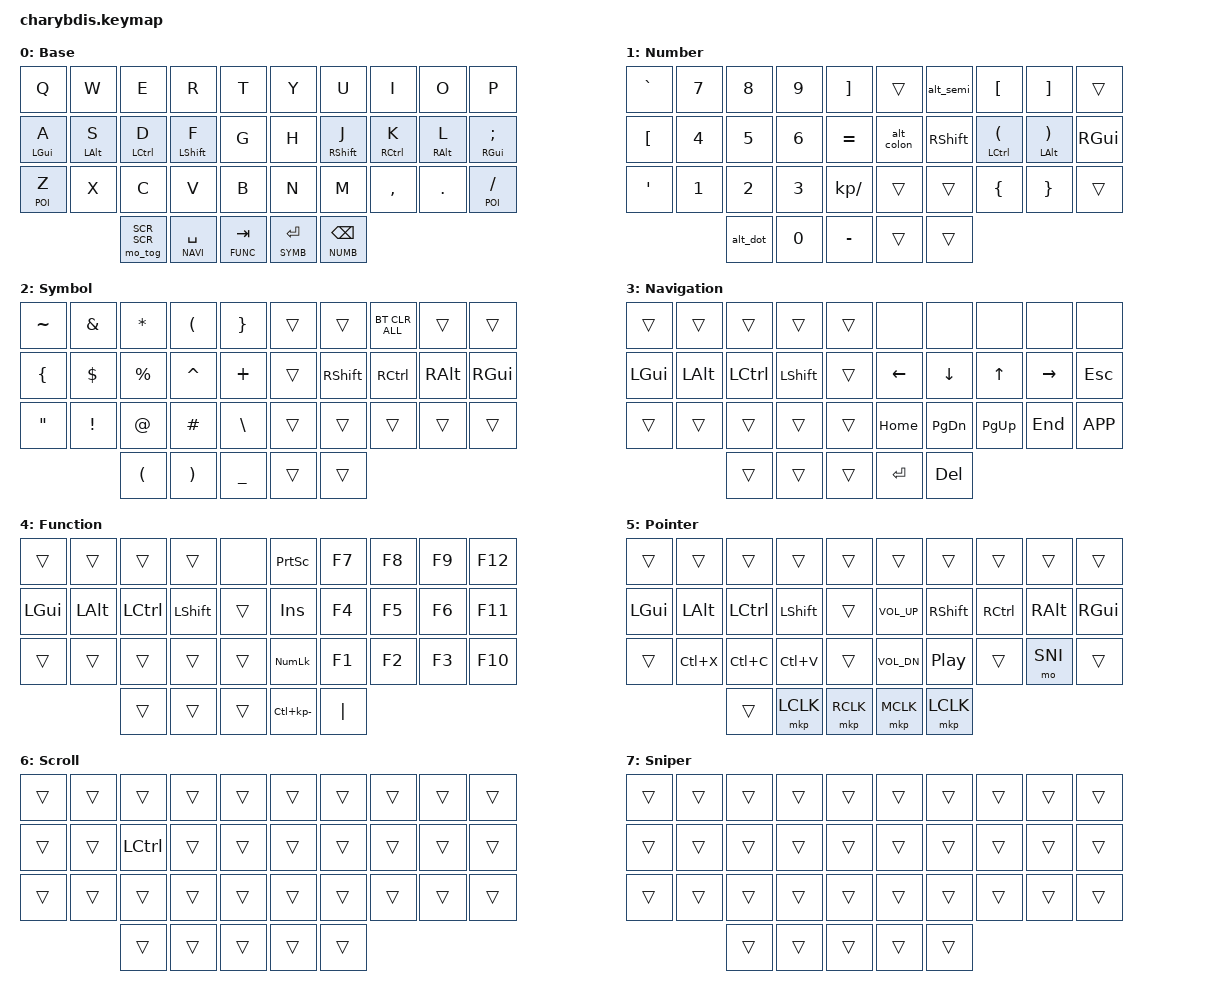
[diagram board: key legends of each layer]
#include <behaviors.dtsi>

#include <dt-bindings/zmk/bt.h>
#include <dt-bindings/zmk/keys.h>
#include <dt-bindings/zmk/mouse.h>

#include <dt-bindings/zmk/pointing.h>

#include <dt-bindings/zmk/ext_power.h>
#include <dt-bindings/zmk/outputs.h>

#include "layers.h"

#include "behaviors.dtsi"
#include "combos.dtsi"

&lt {
    tapping-term-ms = <160>;
};

/ {
    macros {

        ctrl_cmd_hold: ctrl_cmd_hold {
            compatible = "zmk,behavior-macro";
            wait-ms = <0>;
            tap-ms = <10>;
            #binding-cells = <0>;
            bindings
                = <&macro_press &kp LCTRL &kp LGUI &mkp LCLK>
                , <&macro_pause_for_release>
                , <&macro_release &mkp LCLK &kp LCTRL &kp LGUI>
                ;
        };

        alt_dot: alt_dot {
            compatible = "zmk,behavior-macro";
            #binding-cells = <0>;
            wait-ms = <30>;
            tap-ms = <10>;
            bindings
                = <&macro_press &kp LALT>
                , <&macro_tap &kp KP_N0 &kp KP_N0 &kp KP_N4 &kp KP_N6>
                , <&macro_release &kp LALT>
                ;
        };

        alt_bslh: alt_bslh {
            compatible = "zmk,behavior-macro";
            #binding-cells = <0>;
            wait-ms = <30>;
            tap-ms = <10>;
            bindings
                = <&macro_press &kp LALT>
                , <&macro_tap &kp KP_N0 &kp KP_N0 &kp KP_N9 &kp KP_N2>
                , <&macro_release &kp LALT>
                ;
        };

        alt_colon: alt_colon {
            compatible = "zmk,behavior-macro";
            #binding-cells = <0>;
            wait-ms = <30>;
            tap-ms = <10>;
            bindings
                = <&macro_press &kp LALT>
                , <&macro_tap &kp KP_N0 &kp KP_N0 &kp KP_N5 &kp KP_N8>
                , <&macro_release &kp LALT>
                ;
        };

        alt_semi: alt_semi {
            compatible = "zmk,behavior-macro";
            #binding-cells = <0>;
            wait-ms = <30>;
            tap-ms = <10>;
            bindings
                = <&macro_press &kp LALT>
                , <&macro_tap &kp KP_N0 &kp KP_N0 &kp KP_N5 &kp KP_N9>
                , <&macro_release &kp LALT>
                ;
        };
    };

    keymap {
        compatible = "zmk,keymap";

        base_layer {
            label = "BASE";
            display-name = "Base";
            bindings = <
// ╭─────────────┬─────────────┬─────────────┬─────────────┬─────────────╮   ╭─────────────┬─────────────┬─────────────┬─────────────┬─────────────╮
    &kp Q         &kp W         &kp E         &kp R         &kp T             &kp Y         &kp U         &kp I         &kp O         &kp P
// ├─────────────┼─────────────┼─────────────┼─────────────┼─────────────┤   ├─────────────┼─────────────┼─────────────┼─────────────┼─────────────┤
    &hm_l LGUI A  &hm_l LALT S  &hm_l LCTRL D &hm_l LSHFT F &kp G             &kp H         &hm_r RSHFT J &hm_r RCTRL K &hm_r RALT L  &hm_r RGUI SEMI
// ├─────────────┼─────────────┼─────────────┼─────────────┼─────────────┤   ├─────────────┼─────────────┼─────────────┼─────────────┼─────────────┤
    &lt POI Z     &kp X         &kp C         &kp V         &kp B             &kp N         &kp M         &kp COMMA     &kp DOT       &lt POI FSLH
// ╰─────────────┴─────────────┴─────────────┴─────────────┴─────────────╯   ╰─────────────┴─────────────┴─────────────┴─────────────┴─────────────╯
//                              ╭─────────────┬─────────────┬─────────────╮   ╭─────────────┬─────────────╮
                             &mo_tog SCR SCR  &lt NAVI SPACE &lt FUNC TAB     &lt SYMB ENTER &lt NUMB BSPC
//                              ╰─────────────┴─────────────┴─────────────╯   ╰─────────────┴─────────────╯
            >;
        };

        number_layer {
            label = "NUMB";
            display-name = "Number";
            bindings = <
// ╭─────────────┬─────────────┬─────────────┬─────────────┬─────────────╮   ╭─────────────┬─────────────┬─────────────┬─────────────┬─────────────╮
    &kp GRAVE     &kp N7        &kp N8        &kp N9        &kp RBKT          &trans        &alt_semi     &kp LBKT      &kp RBKT      &trans
// ├─────────────┼─────────────┼─────────────┼─────────────┼─────────────┤   ├─────────────┼─────────────┼─────────────┼─────────────┼─────────────┤
    &kp LBKT      &kp N4        &kp N5        &kp N6        &kp EQUAL         &alt_colon    &kp RSHFT    &mt LCTRL LPAR &mt LALT RPAR &kp RGUI
// ├─────────────┼─────────────┼─────────────┼─────────────┼─────────────┤   ├─────────────┼─────────────┼─────────────┼─────────────┼─────────────┤
    &kp APOS      &kp N1        &kp N2        &kp N3        &kp KP_DIVIDE     &trans        &trans        &kp LBRC      &kp RBRC      &trans
// ╰─────────────┴─────────────┴─────────────┴─────────────┴─────────────╯   ╰─────────────┴─────────────┴─────────────┴─────────────┴─────────────╯
//                              ╭─────────────┬─────────────┬─────────────╮   ╭─────────────┬─────────────╮
                                 &alt_dot      &kp N0        &kp MINUS         &trans        &trans
//                              ╰─────────────┴─────────────┴─────────────╯   ╰─────────────┴─────────────╯
            >;
        };

        symbol_layer {
            label = "SYMB";
            display-name = "Symbol";
            bindings = <
// ╭─────────────┬─────────────┬─────────────┬─────────────┬─────────────╮   ╭─────────────┬─────────────┬─────────────┬─────────────┬─────────────╮
    &kp TILDE     &kp AMPS      &kp ASTRK     &kp LPAR      &kp RBRC          &trans        &trans        &bt BT_CLR_ALL &trans       &trans
// ├─────────────┼─────────────┼─────────────┼─────────────┼─────────────┤   ├─────────────┼─────────────┼─────────────┼─────────────┼─────────────┤
    &kp LBRC      &kp DLLR      &kp PRCNT     &kp CARET     &kp PLUS          &trans        &kp RSHFT     &kp RCTRL     &kp RALT      &kp RGUI
// ├─────────────┼─────────────┼─────────────┼─────────────┼─────────────┤   ├─────────────┼─────────────┼─────────────┼─────────────┼─────────────┤
    &kp DQT       &kp EXCL      &kp AT        &kp HASH      &kp BSLH          &trans        &trans        &trans        &trans        &trans
// ╰─────────────┴─────────────┴─────────────┴─────────────┴─────────────╯   ╰─────────────┴─────────────┴─────────────┴─────────────┴─────────────╯
//                              ╭─────────────┬─────────────┬─────────────╮   ╭─────────────┬─────────────╮
                                 &kp LPAR      &kp RPAR      &kp UNDER         &trans        &trans
//                              ╰─────────────┴─────────────┴─────────────╯   ╰─────────────┴─────────────╯
            >;
        };

        navigation_layer {
            label = "NAVI";
            display-name = "Navigation";
            bindings = <
// ╭─────────────┬─────────────┬─────────────┬─────────────┬─────────────╮   ╭─────────────┬─────────────┬─────────────┬─────────────┬─────────────╮
    &trans        &trans        &trans        &trans        &trans            &none         &none         &none         &none         &none
// ├─────────────┼─────────────┼─────────────┼─────────────┼─────────────┤   ├─────────────┼─────────────┼─────────────┼─────────────┼─────────────┤
    &kp LGUI      &kp LALT      &kp LCTRL     &kp LSHFT     &trans            &kp LEFT      &kp DOWN      &kp UP        &kp RIGHT     &kp ESC
// ├─────────────┼─────────────┼─────────────┼─────────────┼─────────────┤   ├─────────────┼─────────────┼─────────────┼─────────────┼─────────────┤
    &trans        &trans        &trans        &trans        &trans            &kp HOME      &kp PG_DN     &kp PG_UP     &kp END       &kp K_APP
// ╰─────────────┴─────────────┴─────────────┴─────────────┴─────────────╯   ╰─────────────┴─────────────┴─────────────┴─────────────┴─────────────╯
//                              ╭─────────────┬─────────────┬─────────────╮   ╭─────────────┬─────────────╮
                                 &trans        &trans        &trans            &kp ENTER     &kp DEL
//                              ╰─────────────┴─────────────┴─────────────╯   ╰─────────────┴─────────────╯
            >;
        };

        function_layer {
            label = "FUNC";
            display-name = "Function";
            bindings = <
// ╭─────────────┬─────────────┬─────────────┬─────────────┬─────────────╮   ╭─────────────┬─────────────┬─────────────┬─────────────┬─────────────╮
    &trans        &trans        &trans        &trans        &none             &kp PSCRN     &kp F7        &kp F8        &kp F9        &kp F12
// ├─────────────┼─────────────┼─────────────┼─────────────┼─────────────┤   ├─────────────┼─────────────┼─────────────┼─────────────┼─────────────┤
    &kp LGUI      &kp LALT      &kp LCTRL     &kp LSHFT     &trans            &kp INS       &kp F4        &kp F5        &kp F6        &kp F11
// ├─────────────┼─────────────┼─────────────┼─────────────┼─────────────┤   ├─────────────┼─────────────┼─────────────┼─────────────┼─────────────┤
    &trans        &trans        &trans        &trans        &trans            &kp KP_NUM    &kp F1        &kp F2        &kp F3        &kp F10
// ╰─────────────┴─────────────┴─────────────┴─────────────┴─────────────╯   ╰─────────────┴─────────────┴─────────────┴─────────────┴─────────────╯
//                              ╭─────────────┬─────────────┬─────────────╮   ╭─────────────┬─────────────╮
                                 &trans        &trans        &trans            &kp LC(KP_MINUS) &kp PIPE
//                              ╰─────────────┴─────────────┴─────────────╯   ╰─────────────┴─────────────╯
            >;
        };

        pointer_layer {
            label = "POI";
            display-name = "Pointer";
            bindings = <
// ╭─────────────┬─────────────┬─────────────┬─────────────┬─────────────╮   ╭─────────────┬─────────────┬─────────────┬─────────────┬─────────────╮
    &trans        &trans        &trans        &trans        &trans            &trans        &trans        &trans        &trans        &trans
// ├─────────────┼─────────────┼─────────────┼─────────────┼─────────────┤   ├─────────────┼─────────────┼─────────────┼─────────────┼─────────────┤
    &kp LGUI      &kp LALT      &kp LCTRL     &kp LSHFT     &trans            &kp C_VOL_UP  &kp RSHFT     &kp RCTRL     &kp RALT      &kp RGUI
// ├─────────────┼─────────────┼─────────────┼─────────────┼─────────────┤   ├─────────────┼─────────────┼─────────────┼─────────────┼─────────────┤
    &trans        &kp LC(X)     &kp LC(C)     &kp LC(V)     &trans            &kp C_VOL_DN  &kp C_PP      &trans        &mo SNI       &trans
// ╰─────────────┴─────────────┴─────────────┴─────────────┴─────────────╯   ╰─────────────┴─────────────┴─────────────┴─────────────┴─────────────╯
//                              ╭─────────────┬─────────────┬─────────────╮   ╭─────────────┬─────────────╮
                                 &trans        &mkp LCLK     &mkp RCLK         &mkp MCLK     &mkp LCLK
//                              ╰─────────────┴─────────────┴─────────────╯   ╰─────────────┴─────────────╯
            >;
        };

        scroll_layer {
            label = "SCR";
            display-name = "Scroll";
            bindings = <
// ╭─────────────┬─────────────┬─────────────┬─────────────┬─────────────╮   ╭─────────────┬─────────────┬─────────────┬─────────────┬─────────────╮
    &trans        &trans        &trans        &trans        &trans            &trans        &trans        &trans        &trans        &trans
// ├─────────────┼─────────────┼─────────────┼─────────────┼─────────────┤   ├─────────────┼─────────────┼─────────────┼─────────────┼─────────────┤
    &trans        &trans        &kp LCTRL     &trans        &trans            &trans        &trans        &trans        &trans        &trans
// ├─────────────┼─────────────┼─────────────┼─────────────┼─────────────┤   ├─────────────┼─────────────┼─────────────┼─────────────┼─────────────┤
    &trans        &trans        &trans        &trans        &trans            &trans        &trans        &trans        &trans        &trans
// ╰─────────────┴─────────────┴─────────────┴─────────────┴─────────────╯   ╰─────────────┴─────────────┴─────────────┴─────────────┴─────────────╯
//                              ╭─────────────┬─────────────┬─────────────╮   ╭─────────────┬─────────────╮
                                 &trans        &trans        &trans            &trans        &trans
//                              ╰─────────────┴─────────────┴─────────────╯   ╰─────────────┴─────────────╯
            >;
        };

        sniper_layer {
            label = "SNI";
            display-name = "Sniper";
            bindings = <
// ╭─────────────┬─────────────┬─────────────┬─────────────┬─────────────╮   ╭─────────────┬─────────────┬─────────────┬─────────────┬─────────────╮
    &trans        &trans        &trans        &trans        &trans            &trans        &trans        &trans        &trans        &trans
// ├─────────────┼─────────────┼─────────────┼─────────────┼─────────────┤   ├─────────────┼─────────────┼─────────────┼─────────────┼─────────────┤
    &trans        &trans        &trans        &trans        &trans            &trans        &trans        &trans        &trans        &trans
// ├─────────────┼─────────────┼─────────────┼─────────────┼─────────────┤   ├─────────────┼─────────────┼─────────────┼─────────────┼─────────────┤
    &trans        &trans        &trans        &trans        &trans            &trans        &trans        &trans        &trans        &trans
// ╰─────────────┴─────────────┴─────────────┴─────────────┴─────────────╯   ╰─────────────┴─────────────┴─────────────┴─────────────┴─────────────╯
//                              ╭─────────────┬─────────────┬─────────────╮   ╭─────────────┬─────────────╮
                                 &trans        &trans        &trans            &trans        &trans
//                              ╰─────────────┴─────────────┴─────────────╯   ╰─────────────┴─────────────╯
            >;
        };
    };
};
